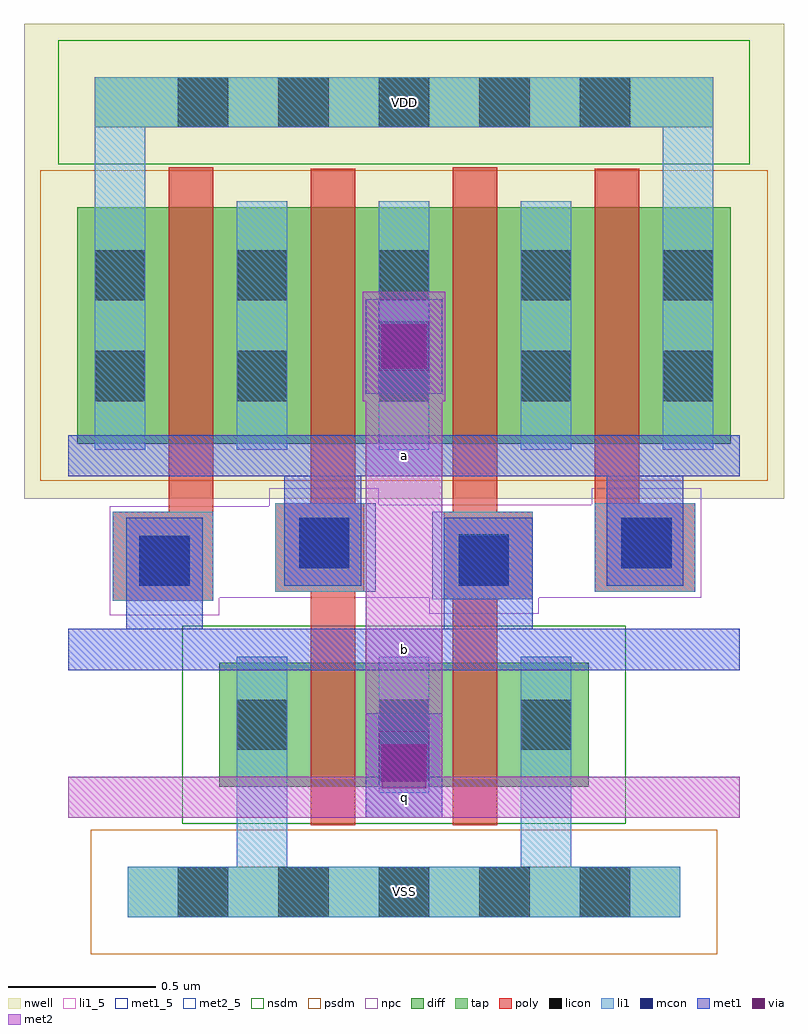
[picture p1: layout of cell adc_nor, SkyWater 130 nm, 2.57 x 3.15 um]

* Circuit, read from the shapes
.subckt adc_nor VDD VSS a b q
XM1 q a VSS VSS sky130_fd_pr__nfet_01v8 w=0.42 l=0.15
XM2 VSS b q VSS sky130_fd_pr__nfet_01v8 w=0.42 l=0.15
XM3 n1 b VDD VDD sky130_fd_pr__pfet_01v8 w=0.8 l=0.15
XM4 q a n1 VDD sky130_fd_pr__pfet_01v8 w=0.8 l=0.15
XM5 n2 b q VDD sky130_fd_pr__pfet_01v8 w=0.8 l=0.15
XM6 VDD a n2 VDD sky130_fd_pr__pfet_01v8 w=0.8 l=0.15
.ends

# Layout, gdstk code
import gdstk
lib = gdstk.Library(unit=1e-6, precision=1e-09)
def R(c, l, rs):  # rectangles x0, y0, x1, y1
    for r in rs: c.add(gdstk.rectangle(r[:2], r[2:], *l))
def A(c, l, x, y, w, h, nx, ny, dx, dy):  # array of equal rectangles
    R(c, l, [(x+i*dx, y+j*dy, x+i*dx+w, y+j*dy+h) for i in range(nx) for j in range(ny)])
nwell = (64, 20)
diff = (65, 20)
tap = (65, 44)
poly = (66, 20)
licon = (66, 44)
li1_5 = (67, 5)
li1 = (67, 20)
mcon = (67, 44)
met1_5 = (68, 5)
met1 = (68, 20)
via = (68, 44)
met2_5 = (69, 5)
met2 = (69, 20)
nsdm = (93, 44)
psdm = (94, 20)
npc = (95, 20)

adc_nor = lib.new_cell('adc_nor')
R(adc_nor, nwell, [(-0.04,0.345,2.53,1.95)])
R(adc_nor, diff, [(0.62,-0.63,1.87,-0.21), (0.14,0.53,2.35,1.33)])
R(adc_nor, tap, [(0.31,-1.07,2.18,-0.9), (0.2,1.6,2.29,1.77)])
R(adc_nor, poly, [(0.93,-0.76,1.08,0.03), (1.41,-0.76,1.56,0.005), (0.26,0,0.6,0.3), (1.38,0.005,1.68,0.3), (0.81,0.03,1.11,0.33), (1.89,0.03,2.23,0.33), (0.45,0.3,0.6,1.465), (1.41,0.3,1.56,1.465), (0.93,0.33,1.08,1.46), (1.89,0.33,2.04,1.46)])
A(adc_nor, licon, 0.48, -1.07, 0.17, 0.17, 5, 2, 0.34, 2.67)
A(adc_nor, licon, 0.68, -0.505, 0.17, 0.17, 3, 1, 0.48, 0)
A(adc_nor, licon, 0.2, 0.675, 0.17, 0.17, 5, 2, 0.48, 0.34)
R(adc_nor, licon, [(0.35,0.05,0.52,0.22), (1.43,0.055,1.6,0.225), (0.89,0.11,1.06,0.28), (1.98,0.11,2.15,0.28)])
R(adc_nor, li1_5, [(0.31,-1.07,2.18,-0.9), (0.2,1.6,2.29,1.77)])
A(adc_nor, li1, 0.68, 0.51, 0.17, 0.84, 3, 1, 0.48, 0)
R(adc_nor, li1, [(0.31,-1.07,2.18,-0.9), (0.68,-0.9,0.85,-0.19), (1.64,-0.9,1.81,-0.19), (1.16,-0.65,1.33,-0.19), (0.26,0,0.6,0.3), (1.34,0.005,1.68,0.3), (0.81,0.03,1.15,0.33), (1.89,0.03,2.23,0.33), (0.2,0.51,0.37,1.6), (2.12,0.51,2.29,1.6), (0.2,1.6,2.29,1.77)])
R(adc_nor, mcon, [(1.16,-0.61,1.33,-0.44), (0.35,0.05,0.52,0.22), (1.43,0.05,1.6,0.22), (0.89,0.11,1.06,0.28), (1.98,0.11,2.15,0.28), (1.16,0.775,1.33,0.945)])
R(adc_nor, met1_5, [(0.11,-0.235,2.38,-0.095), (0.11,0.42,2.38,0.56)])
R(adc_nor, met1, [(1.115,-0.735,1.375,-0.38), (0.11,-0.235,2.38,-0.095), (0.305,-0.095,0.565,0.28), (1.38,-0.095,1.68,0.28), (0.84,0.05,1.1,0.42), (1.93,0.05,2.19,0.42), (0.11,0.42,2.38,0.56), (1.115,0.7,1.375,1.02)])
R(adc_nor, via, [(1.17,-0.635,1.32,-0.485), (1.17,0.785,1.32,0.935)])
R(adc_nor, met2_5, [(0.11,-0.735,2.38,-0.595)])
R(adc_nor, met2, [(0.11,-0.735,2.38,-0.595), (1.115,-0.595,1.375,0.675), (1.105,0.675,1.385,1.045)])
R(adc_nor, nsdm, [(0.495,-0.755,1.995,-0.085), (0.075,1.475,2.415,1.895)])
R(adc_nor, psdm, [(0.185,-1.195,2.305,-0.775), (0.015,0.405,2.475,1.455)])
R(adc_nor, npc, [(0.25,-0.05,0.62,0.01), (1.33,-0.045,1.7,0.01), (0.25,0.01,2.25,0.32), (0.79,0.32,2.25,0.325), (0.79,0.325,1.16,0.38), (1.88,0.325,2.25,0.38)])
adc_nor.add(gdstk.Label('q', (1.245,-0.665), layer=69, texttype=5))
adc_nor.add(gdstk.Label('a', (1.245,0.49), layer=68, texttype=5))
adc_nor.add(gdstk.Label('b', (1.245,-0.165), layer=68, texttype=5))
adc_nor.add(gdstk.Label('VSS', (1.245,-0.985), layer=67, texttype=5))
adc_nor.add(gdstk.Label('VDD', (1.245,1.685), layer=67, texttype=5))

lib.write_gds('adc_nor.gds')
